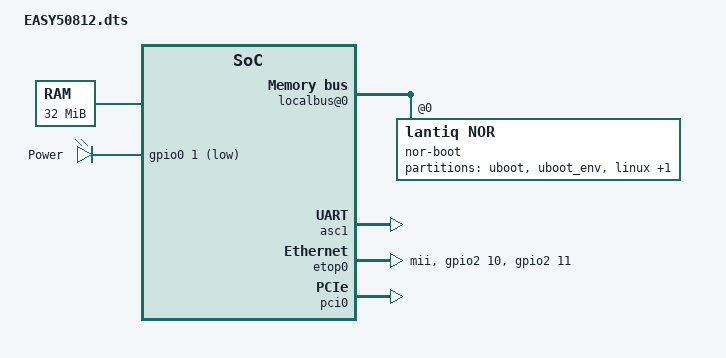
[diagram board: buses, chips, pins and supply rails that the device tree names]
/dts-v1/;

/ {
	#address-cells = <1>;
	#size-cells = <1>;
	compatible = "lantiq,ar9";

	chosen {
		bootargs = "console=ttyLTQ0,115200 init=/etc/preinit";
	};

	cpus {
		cpu@0 {
			compatible = "mips,mips34k";
		};
	};

	memory@0 {
		reg = <0x0 0x2000000>;
	};
	
	biu@1F800000 {
		#address-cells = <1>;
		#size-cells = <1>;
		compatible = "lantiq,biu", "simple-bus";
		reg = <0x1F800000 0x800000>;
		ranges = <0x0 0x1F800000 0x7FFFFF>;

		icu0: icu@80200 {
			#interrupt-cells = <1>;
			interrupt-controller;
			compatible = "lantiq,icu";
			reg = <0x80200 0x120>;
		};

		watchdog@803F0 {
			compatible = "lantiq,wdt";
			reg = <0x803F0 0x10>;
		};
	};

	sram@1F000000 {
		#address-cells = <1>;
		#size-cells = <1>;
		compatible = "lantiq,sram";
		reg = <0x1F000000 0x800000>;
		ranges = <0x0 0x1F000000 0x7FFFFF>;

		eiu0: eiu@101000 {
			#interrupt-cells = <1>;
			interrupt-controller;
			interrupt-parent;
			compatible = "lantiq,eiu-xway";
			reg = <0x101000 0x1000>;
		};

		pmu0: pmu@102000 {
			compatible = "lantiq,pmu-xway";
			reg = <0x102000 0x1000>;
		};

		cgu0: cgu@103000 {
			compatible = "lantiq,cgu-xway";
			reg = <0x103000 0x1000>;
			#clock-cells = <1>;
		};

		rcu0: rcu@203000 {
			compatible = "lantiq,rcu-xway";
			reg = <0x203000 0x1000>;
		};
	};

	fpi@10000000 {
		#address-cells = <1>;
		#size-cells = <1>;
		compatible = "lantiq,fpi", "simple-bus";
		ranges = <0x0 0x10000000 0xEEFFFFF>;
		reg = <0x10000000 0xEF00000>;
		localbus@0 {
			#address-cells = <2>;
			#size-cells = <1>;
			compatible = "lantiq,localbus", "simple-bus";
			ranges = <0 0 0x0 0x3ffffff>; /* addrsel0 */ 

			nor-boot@0 {
				compatible = "lantiq,nor";
				bank-width = <2>;
				reg = <0 0x0 0x2000000>;
				#address-cells = <1>;
				#size-cells = <1>;

				partition@0 {
					label = "uboot";
					reg = <0x00000 0x10000>; /* 64 KB */
				};

				partition@10000 {
					label = "uboot_env";
					reg = <0x10000 0x10000>; /* 64 KB */
				};

				partition@20000 {
					label = "linux";
					reg = <0x20000 0x3d0000>;
				};

				partition@3f0000 {
					label = "boardconfig";
					reg = <0x3f0000 0x10000>; /* 256 KB */
				};
			};
		};

		asc1: serial@E100C00 {
			compatible = "lantiq,asc";
			reg = <0xE100C00 0x400>;
			interrupt-parent = <&icu0>;
			interrupts = <112 113 114>;
			line = <0>;
		};

		gpio0: gpio@E100B10 {
			#gpio-cells = <2>;
			compatible = "lantiq,gpio-xway";
			gpio-controller;
			reg = <0xE100B10 0x30>;
			bank = <0>;
		};

		gpio1: gpio@E100B40 {
			#gpio-cells = <2>;
			compatible = "lantiq,gpio-xway";
			gpio-controller;
			reg = <0xE100B40 0x30>;
			bank = <1>;
		};

		gpio2: gpio@E100B70 {
			#gpio-cells = <2>;
			compatible = "lantiq,gpio-xway";
			gpio-controller;
			reg = <0xE100B70 0x30>;
			bank = <2>;
		};

		etop0: ethernet@E180000 {
			compatible = "lantiq,etop-xway";
			reg = <0xE180000 0x40000 0xE108000 0x200>;
			interrupt-parent = <&icu0>;
			gpios = <&gpio2 10 0 &gpio2 11 0>;
			interrupts = <73 78>;
			phy-mode = "mii";
			mac-address = [ 00 11 22 33 44 55 ];
		};

		dma0: dma@E104100 {
			compatible = "lantiq,dma-xway";
			reg = <0xE104100 0x800>;
		};
		
		ebu0: ebu@E105300 {
			compatible = "lantiq,ebu-xway";
			reg = <0xE105300 0x100>;
		};

		pci0: pci@E105400 {
			#address-cells = <3>;
			#size-cells = <2>;
			#interrupt-cells = <1>;
			compatible = "lantiq,pci-xway";
			bus-range = <0x0 0x0>;
			ranges = <0x2000000 0 0x8000000 0x8000000 0 0x2000000	/* pci memory */
				  0x1000000 0 0x00000000 0xAE00000 0 0x200000>;	/* io space */
			reg = <0x7000000 0x8000		/* config space */
				0xE105400 0x400>;	/* pci bridge */
			clock-frequency = <333333333>;
			interrupt-map-mask = <0xf800 0x0 0x0 0x7>;
			interrupt-map = <
				0x7000 0 0 1 &icu0 29 1 // slot 14, irq 29
			>;
			interrupt-parent = <&icu0>;
			gpios-gnt = <&gpio1 14 0>;	/* GNT1 */
			gpios-req = <&gpio1 13 0>;	/* REQ1 */
			gpios-reset = <&gpio1 5 0>;
			req-mask = <0x1>;		/* GNT1 */
		};
	};

	gpio-leds {
		compatible = "gpio-leds";
		redpower {
			label = "Power";
			gpios = <&gpio0 1 1>;
			default-state = <1>;
			linux,default-trigger = "Heartbeat";
		};
	};
};
